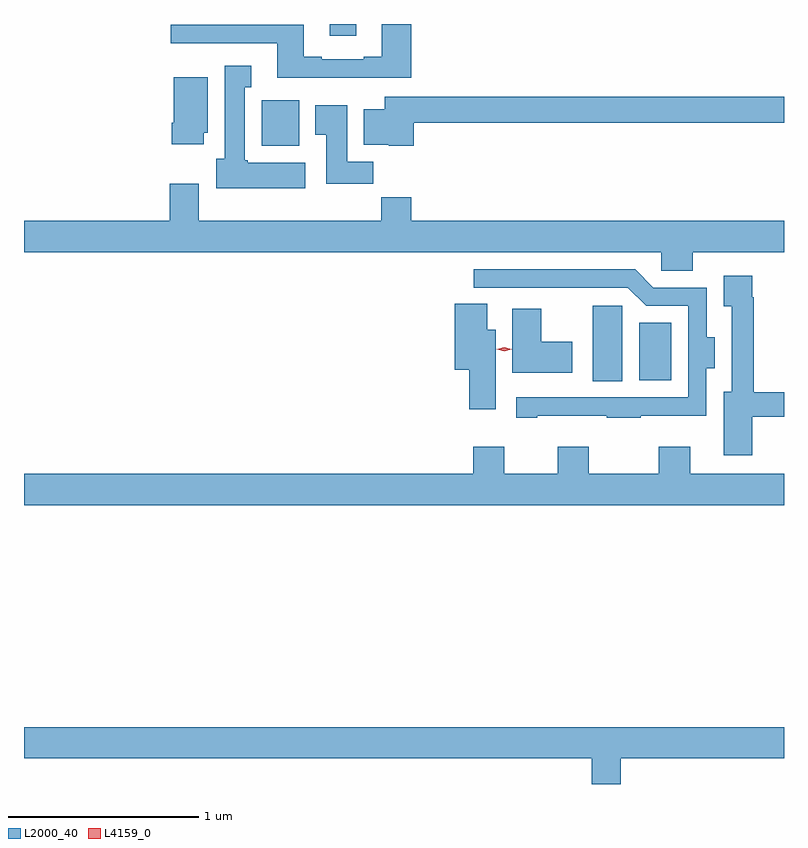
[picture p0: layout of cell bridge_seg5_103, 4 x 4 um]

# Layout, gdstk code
import gdstk
lib = gdstk.Library(unit=1e-6, precision=1e-09)
def R(c, l, rs):  # rectangles x0, y0, x1, y1
    for r in rs: c.add(gdstk.rectangle(r[:2], r[2:], *l))
def P(c, l, *ps):  # polygons
    for p in ps: c.add(gdstk.Polygon(p, *l))
L2000_40 = (2000, 40)
L4159_0 = (4159, 0)

bridge_seg5_103 = lib.new_cell('bridge_seg5_103')
R(bridge_seg5_103, L2000_40, [(582.023,874.729,582.178,875.124), (582.266,874.733,582.436,875.035), (580.28,875.966,580.477,876.208), (580.637,876.546,580.777,876.608)])
P(bridge_seg5_103, L2000_40, [(581.066,876.608),(580.913,876.608),(580.913,876.436),(580.817,876.436),(580.817,876.423),(580.597,876.423),(580.597,876.436),(580.501,876.436),(580.501,876.604),(579.801,876.604),(579.801,876.507),(580.361,876.507),(580.361,876.326),(581.066,876.326)],
  [(580.51,875.878),(580.206,875.878),(580.206,875.892),(580.192,875.892),(580.192,876.275),(580.225,876.275),(580.225,876.388),(580.085,876.388),(580.085,875.898),(580.04,875.898),(580.04,875.744),(580.51,875.744)],
  [(579.976,876.036),(579.997,876.036),(579.997,876.328),(579.818,876.328),(579.818,876.088),(579.806,876.088),(579.806,875.976),(579.976,875.976)],
  [(581.081,876.088),(583.029,876.088),(583.029,876.224),(580.928,876.224),(580.928,876.16),(580.817,876.16),(580.817,875.972),(580.95,875.972),(580.95,875.966),(581.081,875.966)],
  [(580.868,875.884),(580.729,875.884),(580.729,876.181),(580.562,876.181),(580.562,876.025),(580.619,876.025),(580.619,875.766),(580.868,875.766)],
  [(582.548,875.408),(583.029,875.408),(583.029,875.572),(581.066,875.572),(581.066,875.696),(580.909,875.696),(580.909,875.572),(579.949,875.572),(579.949,875.767),(579.797,875.767),(579.797,875.572),(579.029,875.572),(579.029,875.408),(582.384,875.408),(582.384,875.31),(582.548,875.31)],
  [(581.731,874.547),(582.097,874.547),(582.097,874.536),(582.275,874.536),(582.275,874.547),(582.621,874.547),(582.621,874.796),(582.664,874.796),(582.664,874.96),(582.622,874.96),(582.622,875.22),(582.342,875.22),(582.246,875.316),(581.397,875.316),(581.397,875.22),(582.207,875.22),(582.303,875.124),(582.525,875.124),(582.525,874.644),(581.619,874.644),(581.619,874.536),(581.731,874.536)],
  [(582.863,874.542),(583.029,874.542),(583.029,874.67),(582.869,874.67),(582.869,875.171),(582.862,875.171),(582.862,875.284),(582.713,875.284),(582.713,875.123),(582.753,875.123),(582.753,874.672),(582.713,874.672),(582.713,874.338),(582.863,874.338)],
  [(581.512,874.999),(581.467,874.999),(581.467,875.135),(581.297,875.135),(581.297,874.787),(581.372,874.787),(581.372,874.581),(581.512,874.581)],
  [(581.914,874.936),(581.752,874.936),(581.752,875.11),(581.6,875.11),(581.6,874.772),(581.914,874.772)],
  [(583.029,874.24),(582.535,874.24),(582.535,874.384),(582.371,874.384),(582.371,874.24),(582.001,874.24),(582.001,874.384),(581.837,874.384),(581.837,874.24),(581.557,874.24),(581.557,874.384),(581.393,874.384),(581.393,874.24),(579.029,874.24),(579.029,874.076),(583.029,874.076)],
  [(582.169,872.744),(583.029,872.744),(583.029,872.908),(579.029,872.908),(579.029,872.744),(582.017,872.744),(582.017,872.608),(582.169,872.608)])
P(bridge_seg5_103, L4159_0, [(581.557,874.886),(581.518,874.896),(581.518,874.896),(581.518,874.896),(581.557,874.906),(581.595,874.896),(581.596,874.896),(581.595,874.896)])

lib.write_gds('bridge_seg5_103.gds')
